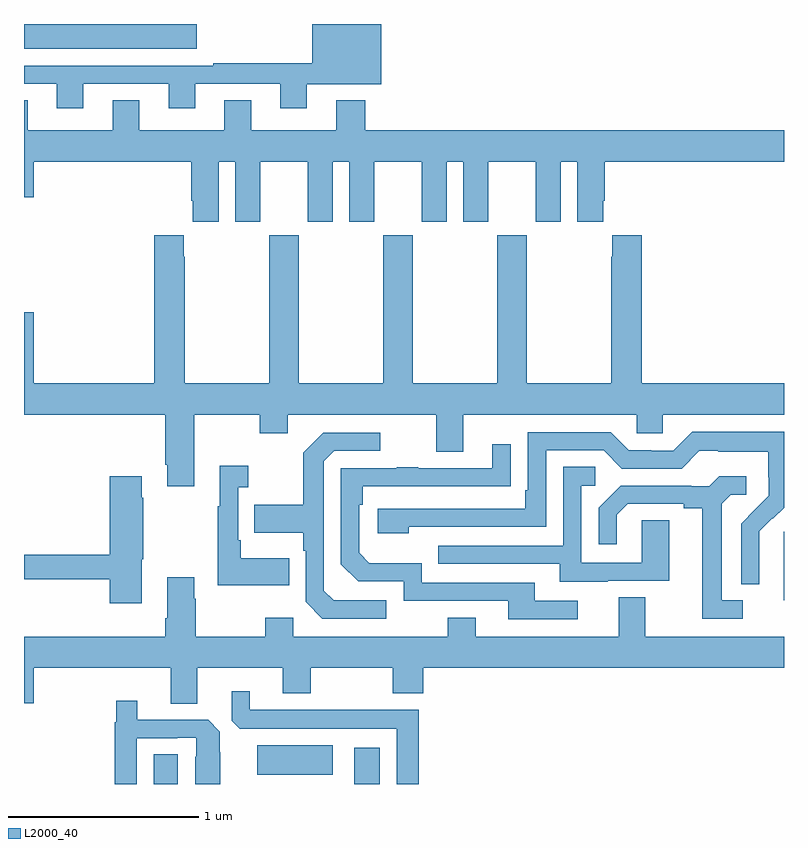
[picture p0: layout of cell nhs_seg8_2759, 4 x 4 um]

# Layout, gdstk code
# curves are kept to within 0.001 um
import gdstk
lib = gdstk.Library(unit=1e-6, precision=1e-09)
def R(c, l, rs):  # rectangles x0, y0, x1, y1
    for r in rs: c.add(gdstk.rectangle(r[:2], r[2:], *l))
def P(c, l, *ps):  # polygons
    for p in ps: c.add(gdstk.Polygon(p, *l))
L2000_40 = (2000, 40)

nhs_seg8_2759 = lib.new_cell('nhs_seg8_2759')
R(nhs_seg8_2759, L2000_40, [(285.683,1103.9,285.808,1104.056), (286.739,1103.9,286.873,1104.091), (286.227,1103.948,286.624,1104.103), (288.998,1104.866,289,1105.227), (285,1107.77,285.91,1107.898)])
P(nhs_seg8_2759, L2000_40, [(285.313,1107.585),(285.761,1107.585),(285.761,1107.456),(285.901,1107.456),(285.901,1107.585),(286.349,1107.585),(286.349,1107.456),(286.489,1107.456),(286.489,1107.584),(286.879,1107.584),(286.879,1107.9),(286.517,1107.9),(286.517,1107.694),(285.997,1107.694),(285.997,1107.681),(285,1107.681),(285,1107.585),(285.173,1107.585),(285.173,1107.456),(285.313,1107.456)],
  [(286.024,1107.176),(286.112,1107.176),(286.112,1106.859),(286.243,1106.859),(286.243,1107.176),(286.493,1107.176),(286.493,1106.859),(286.624,1106.859),(286.624,1107.176),(286.712,1107.176),(286.712,1106.859),(286.843,1106.859),(286.843,1107.176),(287.093,1107.176),(287.093,1106.859),(287.224,1106.859),(287.224,1107.176),(287.312,1107.176),(287.312,1106.859),(287.443,1106.859),(287.443,1107.176),(287.693,1107.176),(287.693,1106.859),(287.824,1106.859),(287.824,1107.176),(287.912,1107.176),(287.912,1106.859),(288.049,1106.859),(288.049,1106.971),(288.056,1106.971),(288.056,1107.176),(289,1107.176),(289,1107.34),(286.796,1107.34),(286.796,1107.499),(286.643,1107.499),(286.643,1107.34),(286.195,1107.34),(286.195,1107.5),(286.055,1107.5),(286.055,1107.34),(285.607,1107.34),(285.607,1107.5),(285.467,1107.5),(285.467,1107.34),(285.019,1107.34),(285.019,1107.5),(285,1107.5),(285,1106.988),(285.052,1106.988),(285.052,1107.176),(285.881,1107.176),(285.881,1106.971),(285.887,1106.971),(285.887,1106.859),(286.024,1106.859)],
  [(285.895,1105.844),(286.24,1105.844),(286.24,1105.745),(286.387,1105.745),(286.387,1105.844),(287.171,1105.844),(287.171,1105.65),(287.311,1105.65),(287.311,1105.844),(288.225,1105.844),(288.225,1105.746),(288.363,1105.746),(288.363,1105.844),(289,1105.844),(289,1106.008),(288.251,1106.008),(288.251,1106.788),(288.095,1106.788),(288.095,1106.675),(288.091,1106.675),(288.091,1106.008),(287.646,1106.008),(287.646,1106.788),(287.491,1106.788),(287.491,1106.008),(287.046,1106.008),(287.046,1106.788),(286.891,1106.788),(286.891,1106.008),(286.446,1106.008),(286.446,1106.788),(286.291,1106.788),(286.291,1106.008),(285.846,1106.008),(285.846,1106.675),(285.841,1106.675),(285.841,1106.788),(285.686,1106.788),(285.686,1106.008),(285.052,1106.008),(285.052,1106.383),(285,1106.383),(285,1105.844),(285.743,1105.844),(285.743,1105.579),(285.755,1105.579),(285.755,1105.467),(285.895,1105.467)],
  [(288.87,1105.106),(288.869,1105.229),(288.939,1105.299),(288.942,1105.296),(289,1105.354),(289,1105.753),(288.517,1105.753),(288.417,1105.653),(288.302,1105.653),(288.302,1105.656),(288.183,1105.656),(288.087,1105.752),(287.652,1105.752),(287.652,1105.447),(287.639,1105.447),(287.639,1105.35),(286.863,1105.35),(286.863,1105.22),(287.024,1105.22),(287.024,1105.254),(287.748,1105.254),(287.748,1105.656),(288.051,1105.656),(288.147,1105.56),(288.462,1105.56),(288.555,1105.653),(288.655,1105.653),(288.655,1105.649),(288.918,1105.649),(288.918,1105.515),(288.92,1105.515),(288.92,1105.418),(288.774,1105.27),(288.774,1104.952),(288.87,1104.952)],
  [(286.906,1104.867),(286.629,1104.867),(286.578,1104.918),(286.578,1105.599),(286.632,1105.653),(286.876,1105.653),(286.876,1105.749),(286.575,1105.749),(286.47,1105.643),(286.47,1105.371),(286.213,1105.371),(286.213,1105.223),(286.47,1105.223),(286.47,1105.127),(286.482,1105.127),(286.482,1104.858),(286.569,1104.771),(286.906,1104.771)],
  [(287.914,1104.864),(287.689,1104.864),(287.689,1104.96),(287.094,1104.96),(287.094,1105.063),(286.817,1105.063),(286.764,1105.116),(286.764,1105.37),(286.784,1105.37),(286.784,1105.467),(287.561,1105.468),(287.561,1105.687),(287.465,1105.687),(287.465,1105.563),(287.075,1105.563),(287.075,1105.568),(286.963,1105.568),(286.963,1105.563),(286.668,1105.563),(286.668,1105.056),(286.758,1104.966),(286.998,1104.966),(286.998,1104.864),(287.549,1104.864),(287.549,1104.768),(287.914,1104.768)],
  [(286.397,1105.087),(286.141,1105.087),(286.141,1105.183),(286.128,1105.183),(286.128,1105.463),(286.18,1105.463),(286.18,1105.576),(286.031,1105.576),(286.031,1105.363),(286.02,1105.363),(286.02,1104.947),(286.397,1104.947)],
  [(288.073,1104.969),(288.397,1104.969),(288.397,1105.289),(288.252,1105.289),(288.252,1105.065),(287.934,1105.065),(287.934,1105.47),(288.007,1105.47),(288.007,1105.571),(287.838,1105.571),(287.838,1105.155),(287.179,1105.155),(287.179,1105.059),(287.819,1105.059),(287.819,1104.965),(288.073,1104.965)],
  [(288.784,1104.867),(288.673,1104.867),(288.673,1105.375),(288.72,1105.422),(288.802,1105.422),(288.802,1105.519),(288.658,1105.519),(288.606,1105.467),(288.512,1105.467),(288.512,1105.47),(288.14,1105.47),(288.024,1105.354),(288.024,1105.161),(288.121,1105.161),(288.121,1105.317),(288.178,1105.374),(288.473,1105.374),(288.473,1105.352),(288.569,1105.352),(288.569,1104.771),(288.784,1104.771)],
  [(285.619,1105.083),(285.627,1105.083),(285.627,1105.406),(285.619,1105.406),(285.619,1105.519),(285.452,1105.519),(285.452,1105.106),(285,1105.106),(285,1104.978),(285.452,1104.978),(285.452,1104.852),(285.619,1104.852)],
  [(285.755,1104.772),(285.743,1104.772),(285.743,1104.676),(285,1104.676),(285,1104.324),(285.052,1104.324),(285.052,1104.512),(285.773,1104.512),(285.773,1104.322),(285.913,1104.322),(285.913,1104.512),(286.361,1104.512),(286.361,1104.377),(286.509,1104.377),(286.509,1104.512),(286.942,1104.512),(286.942,1104.377),(287.102,1104.377),(287.102,1104.512),(289,1104.512),(289,1104.676),(288.271,1104.676),(288.271,1104.884),(288.131,1104.884),(288.131,1104.676),(287.377,1104.676),(287.377,1104.775),(287.23,1104.775),(287.23,1104.676),(286.416,1104.676),(286.416,1104.775),(286.27,1104.775),(286.27,1104.676),(285.903,1104.676),(285.903,1104.875),(285.895,1104.875),(285.895,1104.988),(285.755,1104.988)],
  [(287.078,1104.292),(286.189,1104.292),(286.189,1104.388),(286.093,1104.388),(286.093,1104.233),(286.135,1104.191),(286.962,1104.191),(286.962,1103.9),(287.078,1103.9)],
  [(285.594,1104.141),(285.806,1104.141),(285.806,1104.144),(285.906,1104.144),(285.906,1104.044),(285.902,1104.044),(285.902,1103.9),(286.033,1103.9),(286.033,1104.068),(286.031,1104.068),(286.031,1104.175),(285.969,1104.237),(285.595,1104.237),(285.595,1104.337),(285.486,1104.337),(285.486,1104.224),(285.478,1104.224),(285.478,1103.9),(285.594,1103.9)])

lib.write_gds('nhs_seg8_2759.gds')
